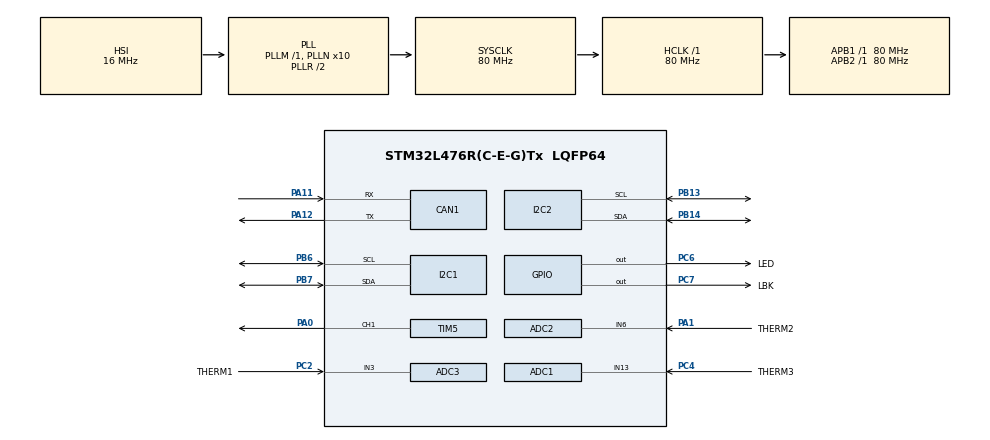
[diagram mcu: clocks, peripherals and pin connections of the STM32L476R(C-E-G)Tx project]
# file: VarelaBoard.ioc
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ADC1.Channel-1\#ChannelRegularConversion=ADC_CHANNEL_13
ADC1.NbrOfConversionFlag=1
ADC1.OffsetNumber-1\#ChannelRegularConversion=ADC_OFFSET_NONE
ADC1.Rank-1\#ChannelRegularConversion=1
ADC1.SamplingTime-1\#ChannelRegularConversion=ADC_SAMPLETIME_2CYCLES_5
ADC1.master=1
ADC2.Channel-0\#ChannelRegularConversion=ADC_CHANNEL_6
ADC2.NbrOfConversionFlag=1
ADC2.OffsetNumber-0\#ChannelRegularConversion=ADC_OFFSET_NONE
ADC2.Rank-0\#ChannelRegularConversion=1
ADC2.SamplingTime-0\#ChannelRegularConversion=ADC_SAMPLETIME_2CYCLES_5
ADC3.Channel-0\#ChannelRegularConversion=ADC_CHANNEL_3
ADC3.NbrOfConversionFlag=1
ADC3.OffsetNumber-0\#ChannelRegularConversion=ADC_OFFSET_NONE
ADC3.Rank-0\#ChannelRegularConversion=1
ADC3.SamplingTime-0\#ChannelRegularConversion=ADC_SAMPLETIME_2CYCLES_5
CAN1.BS1=CAN_BS1_4TQ
CAN1.CalculateTimeQuantum=200.0
Mcu.Family=STM32L4
Mcu.Name=STM32L476R(C-E-G)Tx
Mcu.Package=LQFP64
NVIC.PriorityGroup=NVIC_PRIORITYGROUP_4
PA0.Signal=S_TIM5_CH1
PA1.GPIO_Label=THERM2
PA1.Signal=ADCx_IN6
PA11.Mode=Master
PA11.Signal=CAN1_RX
PA12.Mode=Master
PA12.Signal=CAN1_TX
PA13\ (JTMS-SWDIO).Mode=JTAG_5_pins
PA13\ (JTMS-SWDIO).Signal=SYS_JTMS-SWDIO
PA14\ (JTCK-SWCLK).Mode=JTAG_5_pins
PA14\ (JTCK-SWCLK).Signal=SYS_JTCK-SWCLK
PA15\ (JTDI).Mode=JTAG_5_pins
PA15\ (JTDI).Signal=SYS_JTDI
PB13.Mode=I2C
PB13.Signal=I2C2_SCL
PB14.Mode=I2C
PB14.Signal=I2C2_SDA
PB3\ (JTDO-TRACESWO).Mode=JTAG_5_pins
PB3\ (JTDO-TRACESWO).Signal=SYS_JTDO-SWO
PB4\ (NJTRST).Mode=JTAG_5_pins
PB4\ (NJTRST).Signal=SYS_JTRST
PB6.Mode=I2C
PB6.Signal=I2C1_SCL
PB7.Mode=I2C
PB7.Signal=I2C1_SDA
PC14-OSC32_IN\ (PC14).Mode=LSE-External-Oscillator
PC14-OSC32_IN\ (PC14).Signal=RCC_OSC32_IN
PC15-OSC32_OUT\ (PC15).Mode=LSE-External-Oscillator
PC15-OSC32_OUT\ (PC15).Signal=RCC_OSC32_OUT
PC2.GPIO_Label=THERM1
PC2.Signal=ADCx_IN3
PC4.GPIO_Label=THERM3
PC4.Signal=ADCx_IN13
PC6.GPIO_Label=LED
PC6.Signal=GPIO_Output
PC7.GPIO_Label=LBK
PC7.Signal=GPIO_Output
ProjectManager.HeapSize=0x200
ProjectManager.StackSize=0x400
ProjectManager.TargetToolchain=STM32CubeIDE
RCC.ADCFreq_Value=64000000
RCC.AHBFreq_Value=80000000
RCC.APB1Freq_Value=80000000
RCC.APB1TimFreq_Value=80000000
RCC.APB2Freq_Value=80000000
RCC.APB2TimFreq_Value=80000000
RCC.CortexFreq_Value=80000000
RCC.HCLKFreq_Value=80000000
RCC.HSE_VALUE=8000000
RCC.HSI_VALUE=16000000
RCC.MSI_VALUE=4000000
RCC.PLLN=10
RCC.PLLSourceVirtual=RCC_PLLSOURCE_HSI
RCC.SYSCLKFreq_VALUE=80000000
RCC.SYSCLKSource=RCC_SYSCLKSOURCE_PLLCLK
RCC.USBFreq_Value=64000000
RCC.VCOOutputFreq_Value=160000000
SH.ADCx_IN13.0=ADC1_IN13,IN13-Single-Ended
SH.ADCx_IN3.0=ADC3_IN3,IN3-Single-Ended
SH.ADCx_IN6.0=ADC2_IN6,IN6-Single-Ended
SH.S_TIM5_CH1.0=TIM5_CH1,PWM Generation1 CH1
TIM5.Channel-PWM\ Generation1\ CH1=TIM_CHANNEL_1
TIM5.Period=2000
TIM5.Prescaler=40000
board=custom

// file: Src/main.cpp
/* USER CODE BEGIN Header */
/**
  ******************************************************************************
  * @file           : main.c
  * @brief          : Main program body
  ******************************************************************************
  * @attention
  *
  * <h2><center>&copy; Copyright (c) 2019 STMicroelectronics.
  * All rights reserved.</center></h2>
  *
  * This software component is licensed by ST under BSD 3-Clause license,
  * the "License"; You may not use this file except in compliance with the
  * License. You may obtain a copy of the License at:
  *                        opensource.org/licenses/BSD-3-Clause
  *
  ******************************************************************************
  */
/* USER CODE END Header */

#include "main.h"

/* USER CODE BEGIN Includes */
#include "INA219.h"
#include "Adafruit_BNO055.h"
#include "zenith_can_lib.h"
#include <math.h>
/* USER CODE END Includes */

/* USER CODE BEGIN PD */
#define INA_ADDR_1 0x40
#define INA_ADDR_2 0X41
#define INA_ADDR_3 0X44
#define INA_ADDR_4 0X45

/* USER CODE END PD */

ADC_HandleTypeDef hadc1;
ADC_HandleTypeDef hadc2;
ADC_HandleTypeDef hadc3;

CAN_HandleTypeDef hcan1;

I2C_HandleTypeDef hi2c1;
I2C_HandleTypeDef hi2c2;

TIM_HandleTypeDef htim5;

/* USER CODE BEGIN PV */
Z_CAN_Package can_rx_pkg;
Z_CAN_Package can_tx_pkg;

INA ina1_i2c1 = INA_ZERO;
INA ina2_i2c1 = INA_ZERO;
INA ina3_i2c1 = INA_ZERO;
INA ina4_i2c1 = INA_ZERO;

INA ina1_i2c2 = INA_ZERO;
INA ina2_i2c2 = INA_ZERO;
INA ina3_i2c2 = INA_ZERO;
INA ina4_i2c2 = INA_ZERO;

float temp_avg1, temp_avg2, temp_avg3;
float temp = 25;

float f1, f2;
TIM_OC_InitTypeDef configPWM = {0};
uint8_t flagPWM = 0;		// 0 = stop; 1 = 30%; 2 = 60%;
/* USER CODE END PV */

void SystemClock_Config(void);
static void MX_GPIO_Init(void);
static void MX_CAN1_Init(void);
static void MX_ADC1_Init(void);
static void MX_ADC2_Init(void);
static void MX_ADC3_Init(void);
static void MX_I2C1_Init(void);
static void MX_I2C2_Init(void);
static void MX_TIM5_Init(void);
/* USER CODE BEGIN PFP */
float tempADC(ADC_HandleTypeDef* phadc, float R0);

/* USER CODE END PFP */

int main(void)
{

  /* MCU Configuration--------------------------------------------------------*/

  /* Reset of all peripherals, Initializes the Flash interface and the Systick. */
  HAL_Init();

  /* Configure the system clock */
  SystemClock_Config();

  /* Initialize all configured peripherals */
  MX_GPIO_Init();
  MX_CAN1_Init();
  MX_ADC1_Init();
  MX_ADC2_Init();
  MX_ADC3_Init();
  MX_I2C1_Init();
  MX_I2C2_Init();
  MX_TIM5_Init();
  /* USER CODE BEGIN 2 */

  double xPos = 0, yPos = 0, headingVel = 0;
  uint16_t BNO055_SAMPLERATE_DELAY_MS = 10; //how often to read data from the board
  uint16_t PRINT_DELAY_MS = 500; // how often to print the data
  uint16_t printCount = 0; //counter to avoid printing every 10MS sample
  double ACCEL_VEL_TRANSITION =  (double)(BNO055_SAMPLERATE_DELAY_MS) / 1000.0;
  double ACCEL_POS_TRANSITION = 0.5 * ACCEL_VEL_TRANSITION * ACCEL_VEL_TRANSITION;
  double DEG_2_RAD = 0.01745329251; //trig functions require radians, BNO055 outputs degrees

  Adafruit_BNO055 bno = Adafruit_BNO055(hi2c1, 55);

  bno.begin();

  ina219_init(hi2c1, INA_ADDR_1);
  setCalibration_16V_400mA();

  // Initializing CAN Filter
  filterConfigCAN(&hcan1);
  HAL_CAN_Start(&hcan1);

  // Initializing PWM Timer
  HAL_TIM_PWM_Init(&htim5);
  configPWM.OCMode = TIM_OCMODE_PWM1;
  configPWM.Pulse = 0; // Largura do pulso
  configPWM.OCPolarity = TIM_OCPOLARITY_HIGH;
  configPWM.OCNPolarity = TIM_OCNPOLARITY_HIGH;
  configPWM.OCFastMode = TIM_OCFAST_DISABLE;
  configPWM.OCIdleState = TIM_OCIDLESTATE_RESET;
  configPWM.OCNIdleState = TIM_OCNIDLESTATE_RESET;
  HAL_TIM_PWM_ConfigChannel(&htim5, &configPWM, TIM_CHANNEL_1);

  can_tx_pkg.identifier = 2;
  /* USER CODE END 2 */

  /* Infinite loop */
  while (1)
  {

    /* USER CODE BEGIN 3 */

	  sensors_event_t orientationData , linearAccelData, angVelData;
	  //bno.getEvent(&orientationData, Adafruit_BNO055::VECTOR_EULER);
	  bno.getEvent(&angVelData, Adafruit_BNO055::VECTOR_GYROSCOPE);
	  getData(&ina1_i2c1);
	  f1 = orientationData.orientation.roll;
	  f2 = ina1_i2c1.loadvoltage;
	  memcpy(can_tx_pkg.data, &f1, sizeof(float));
	  memcpy(can_tx_pkg.data + sizeof(float), &f2, sizeof(float));
	  sendCanMessage(&hcan1, can_tx_pkg);

	  /*
	    bno.getEvent(&angVelData, Adafruit_BNO055::VECTOR_GYROSCOPE);
	  bno.getEvent(&linearAccelData, Adafruit_BNO055::VECTOR_LINEARACCEL);

	  xPos = xPos + ACCEL_POS_TRANSITION * linearAccelData.acceleration.x;
	  yPos = yPos + ACCEL_POS_TRANSITION * linearAccelData.acceleration.y;

	  // velocity of sensor in the direction it's facing
	  headingVel = ACCEL_VEL_TRANSITION * linearAccelData.acceleration.x / cos(DEG_2_RAD * orientationData.orientation.x);
*/

	  continue;

	// Leitura CAN
	/*
	can_rx_pkg = readCanMessages(&hcan1);

	if(!isEqual(can_rx_pkg, NULL_MSG)){
		if (can_rx_pkg.data[0] == 1){
			HAL_GPIO_WritePin(LED_GPIO_Port, LED_Pin, GPIO_PIN_SET);
		}
		else if (can_rx_pkg.data[1] == 1){
			HAL_GPIO_TogglePin(LED_GPIO_Port, LED_Pin);
		}
		else if(can_rx_pkg.data[2] == 1){
			HAL_GPIO_WritePin(LED_GPIO_Port, LED_Pin, GPIO_PIN_RESET);
		}
	}
	else{
		continue;		//Nenhuma Mensagem recebida
	}
	*/
	if(temp > 60){		//Prevent Overheating
	  		HAL_TIM_PWM_Stop(&htim5, TIM_CHANNEL_1);
	  		flagPWM = 0;
	}

	// Read and send INA1 - I2C1 (Bateria)
	ina219_init(hi2c1, INA_ADDR_1);
	setCalibration_16V_400mA();
	getData(&ina1_i2c1);
	//sendMessageCAN(&ina1_i2c1, &hcan1, 0);

	can_tx_pkg.identifier = 2;
	//float f1, f2;
	f1 = ina1_i2c1.current_mA;
	f2 = ina1_i2c1.loadvoltage;
	memcpy(can_tx_pkg.data, &f1, sizeof(float));
	memcpy(can_tx_pkg.data + sizeof(float), &f2, sizeof(float));
	sendCanMessage(&hcan1, can_tx_pkg);

	// Read and send INA2 - I2C1 (Charger)
	ina219_init(hi2c1, INA_ADDR_2);
	setCalibration_16V_400mA();
	getData(&ina2_i2c1);
	sendMessageCAN(ina2_i2c1, &hcan1, 3);

	// Read and send INA3 - I2C1 (5V)
	ina219_init(hi2c1, INA_ADDR_3);
	setCalibration_16V_400mA();
	getData(&ina3_i2c1);
	sendMessageCAN(ina3_i2c1, &hcan1, 4);

	// Read and send INA4 - I2C1 (3.3V)
	ina219_init(hi2c1, INA_ADDR_4);
	setCalibration_16V_400mA();
	getData(&ina4_i2c1);
	sendMessageCAN(ina4_i2c1, &hcan1, 5);
/*
	// Read and send INA1 - I2C2
	ina219_init(hi2c2, INA_ADDR_1);
	setCalibration_16V_400mA();
	getData(&ina1_i2c2);
	sendMessageCAN(&ina1_i2c2, &hcan1, 6);
*/
	// Read and send INA2 - I2C2 (Painel Solar 2)
	ina219_init(hi2c2, INA_ADDR_2);
	setCalibration_16V_400mA();
	getData(&ina2_i2c2);
	sendMessageCAN(ina2_i2c2, &hcan1, 7);

	// Read and send INA3 - I2C2 (Painel Solar 1)
	ina219_init(hi2c2, INA_ADDR_3);
	setCalibration_16V_400mA();
	getData(&ina3_i2c2);
	sendMessageCAN(ina3_i2c2, &hcan1, 8);
/*
	// Read and send INA4 - I2C2
	ina219_init(hi2c2, INA_ADDR_4);
	setCalibration_16V_400mA();
	getData(&ina4_i2c2);
	sendMessageCAN(&ina4_i2c2, &hcan1, 9);
*/

	// Read adc1 (Therm3)
	temp_avg1 = 0;
	for(int i = 0; i < 5; i++)
		temp_avg1 += tempADC(&hadc1, 1100);
	temp_avg1 /= 5;

	// Read adc2 (Therm2)
	temp_avg2 = 0;
	for(int i = 0; i < 5; i++)
		temp_avg2 += tempADC(&hadc2, 1100);
	temp_avg2 /= 5;

	// Read adc3 (Therm1)
	temp_avg3 = 0;
	for(int i = 0; i < 5; i++)
		temp_avg3 += tempADC(&hadc3, 1100);
	temp_avg3 /= 5;

	temp = (temp_avg1 + temp_avg2)/2.0;

	can_tx_pkg.identifier = 1;
	memcpy(can_tx_pkg.data, &temp, sizeof(float));
	sendCanMessage(&hcan1, can_tx_pkg);

	if(temp < 2 && flagPWM != 2){		//60%
		//HAL_GPIO_WritePin(PWM_T_GPIO_Port, PWM_T_Pin, GPIO_PIN_SET);
		if(flagPWM != 0)
			HAL_TIM_PWM_Stop(&htim5,TIM_CHANNEL_1);

		configPWM.Pulse = 1200;
		HAL_TIM_PWM_ConfigChannel(&htim5, &configPWM, TIM_CHANNEL_1);
		HAL_TIM_PWM_Start(&htim5,TIM_CHANNEL_1);
		flagPWM = 2;
	}
	else if(temp < 5 && flagPWM != 1){	//30%
		if(flagPWM != 0)
			HAL_TIM_PWM_Stop(&htim5,TIM_CHANNEL_1);

		configPWM.Pulse = 600;
		HAL_TIM_PWM_ConfigChannel(&htim5, &configPWM, TIM_CHANNEL_1);
		HAL_TIM_PWM_Start(&htim5,TIM_CHANNEL_1);
		flagPWM = 1;
	}
	else if(temp >= 5 && flagPWM != 0){	//Stop
		HAL_TIM_PWM_Stop(&htim5,TIM_CHANNEL_1);
	}
	//HAL_GPIO_WritePin(PWM_T_GPIO_Port, PWM_T_Pin, GPIO_PIN_RESET);

  }
  /* USER CODE END 3 */
}

void SystemClock_Config(void)
{
  RCC_OscInitTypeDef RCC_OscInitStruct = {0};
  RCC_ClkInitTypeDef RCC_ClkInitStruct = {0};
  RCC_PeriphCLKInitTypeDef PeriphClkInit = {0};

  /** Initializes the CPU, AHB and APB busses clocks
  */
  RCC_OscInitStruct.OscillatorType = RCC_OSCILLATORTYPE_HSI;
  RCC_OscInitStruct.HSIState = RCC_HSI_ON;
  RCC_OscInitStruct.HSICalibrationValue = RCC_HSICALIBRATION_DEFAULT;
  RCC_OscInitStruct.PLL.PLLState = RCC_PLL_ON;
  RCC_OscInitStruct.PLL.PLLSource = RCC_PLLSOURCE_HSI;
  RCC_OscInitStruct.PLL.PLLM = 1;
  RCC_OscInitStruct.PLL.PLLN = 10;
  RCC_OscInitStruct.PLL.PLLP = RCC_PLLP_DIV7;
  RCC_OscInitStruct.PLL.PLLQ = RCC_PLLQ_DIV2;
  RCC_OscInitStruct.PLL.PLLR = RCC_PLLR_DIV2;
  if (HAL_RCC_OscConfig(&RCC_OscInitStruct) != HAL_OK)
  {
    Error_Handler();
  }
  /** Initializes the CPU, AHB and APB busses clocks
  */
  RCC_ClkInitStruct.ClockType = RCC_CLOCKTYPE_HCLK|RCC_CLOCKTYPE_SYSCLK
                              |RCC_CLOCKTYPE_PCLK1|RCC_CLOCKTYPE_PCLK2;
  RCC_ClkInitStruct.SYSCLKSource = RCC_SYSCLKSOURCE_PLLCLK;
  RCC_ClkInitStruct.AHBCLKDivider = RCC_SYSCLK_DIV1;
  RCC_ClkInitStruct.APB1CLKDivider = RCC_HCLK_DIV1;
  RCC_ClkInitStruct.APB2CLKDivider = RCC_HCLK_DIV1;

  if (HAL_RCC_ClockConfig(&RCC_ClkInitStruct, FLASH_LATENCY_4) != HAL_OK)
  {
    Error_Handler();
  }
  PeriphClkInit.PeriphClockSelection = RCC_PERIPHCLK_I2C1|RCC_PERIPHCLK_I2C2
                              |RCC_PERIPHCLK_ADC;
  PeriphClkInit.I2c1ClockSelection = RCC_I2C1CLKSOURCE_PCLK1;
  PeriphClkInit.I2c2ClockSelection = RCC_I2C2CLKSOURCE_PCLK1;
  PeriphClkInit.AdcClockSelection = RCC_ADCCLKSOURCE_PLLSAI1;
  PeriphClkInit.PLLSAI1.PLLSAI1Source = RCC_PLLSOURCE_HSI;
  PeriphClkInit.PLLSAI1.PLLSAI1M = 1;
  PeriphClkInit.PLLSAI1.PLLSAI1N = 8;
  PeriphClkInit.PLLSAI1.PLLSAI1P = RCC_PLLP_DIV7;
  PeriphClkInit.PLLSAI1.PLLSAI1Q = RCC_PLLQ_DIV2;
  PeriphClkInit.PLLSAI1.PLLSAI1R = RCC_PLLR_DIV2;
  PeriphClkInit.PLLSAI1.PLLSAI1ClockOut = RCC_PLLSAI1_ADC1CLK;
  if (HAL_RCCEx_PeriphCLKConfig(&PeriphClkInit) != HAL_OK)
  {
    Error_Handler();
  }
  /** Configure the main internal regulator output voltage
  */
  if (HAL_PWREx_ControlVoltageScaling(PWR_REGULATOR_VOLTAGE_SCALE1) != HAL_OK)
  {
    Error_Handler();
  }
}

static void MX_ADC1_Init(void)
{

  ADC_MultiModeTypeDef multimode = {0};
  ADC_ChannelConfTypeDef sConfig = {0};

  /** Common config
  */
  hadc1.Instance = ADC1;
  hadc1.Init.ClockPrescaler = ADC_CLOCK_ASYNC_DIV1;
  hadc1.Init.Resolution = ADC_RESOLUTION_12B;
  hadc1.Init.DataAlign = ADC_DATAALIGN_RIGHT;
  hadc1.Init.ScanConvMode = ADC_SCAN_DISABLE;
  hadc1.Init.EOCSelection = ADC_EOC_SINGLE_CONV;
  hadc1.Init.LowPowerAutoWait = DISABLE;
  hadc1.Init.ContinuousConvMode = DISABLE;
  hadc1.Init.NbrOfConversion = 1;
  hadc1.Init.DiscontinuousConvMode = DISABLE;
  hadc1.Init.ExternalTrigConv = ADC_SOFTWARE_START;
  hadc1.Init.ExternalTrigConvEdge = ADC_EXTERNALTRIGCONVEDGE_NONE;
  hadc1.Init.DMAContinuousRequests = DISABLE;
  hadc1.Init.Overrun = ADC_OVR_DATA_PRESERVED;
  hadc1.Init.OversamplingMode = DISABLE;
  if (HAL_ADC_Init(&hadc1) != HAL_OK)
  {
    Error_Handler();
  }
  /** Configure the ADC multi-mode
  */
  multimode.Mode = ADC_MODE_INDEPENDENT;
  if (HAL_ADCEx_MultiModeConfigChannel(&hadc1, &multimode) != HAL_OK)
  {
    Error_Handler();
  }
  /** Configure Regular Channel
  */
  sConfig.Channel = ADC_CHANNEL_13;
  sConfig.Rank = ADC_REGULAR_RANK_1;
  sConfig.SamplingTime = ADC_SAMPLETIME_2CYCLES_5;
  sConfig.SingleDiff = ADC_SINGLE_ENDED;
  sConfig.OffsetNumber = ADC_OFFSET_NONE;
  sConfig.Offset = 0;
  if (HAL_ADC_ConfigChannel(&hadc1, &sConfig) != HAL_OK)
  {
    Error_Handler();
  }

}

static void MX_ADC2_Init(void)
{

  ADC_ChannelConfTypeDef sConfig = {0};

  /** Common config
  */
  hadc2.Instance = ADC2;
  hadc2.Init.ClockPrescaler = ADC_CLOCK_ASYNC_DIV1;
  hadc2.Init.Resolution = ADC_RESOLUTION_12B;
  hadc2.Init.DataAlign = ADC_DATAALIGN_RIGHT;
  hadc2.Init.ScanConvMode = ADC_SCAN_DISABLE;
  hadc2.Init.EOCSelection = ADC_EOC_SINGLE_CONV;
  hadc2.Init.LowPowerAutoWait = DISABLE;
  hadc2.Init.ContinuousConvMode = DISABLE;
  hadc2.Init.NbrOfConversion = 1;
  hadc2.Init.DiscontinuousConvMode = DISABLE;
  hadc2.Init.ExternalTrigConv = ADC_SOFTWARE_START;
  hadc2.Init.ExternalTrigConvEdge = ADC_EXTERNALTRIGCONVEDGE_NONE;
  hadc2.Init.DMAContinuousRequests = DISABLE;
  hadc2.Init.Overrun = ADC_OVR_DATA_PRESERVED;
  hadc2.Init.OversamplingMode = DISABLE;
  if (HAL_ADC_Init(&hadc2) != HAL_OK)
  {
    Error_Handler();
  }
  /** Configure Regular Channel
  */
  sConfig.Channel = ADC_CHANNEL_6;
  sConfig.Rank = ADC_REGULAR_RANK_1;
  sConfig.SamplingTime = ADC_SAMPLETIME_2CYCLES_5;
  sConfig.SingleDiff = ADC_SINGLE_ENDED;
  sConfig.OffsetNumber = ADC_OFFSET_NONE;
  sConfig.Offset = 0;
  if (HAL_ADC_ConfigChannel(&hadc2, &sConfig) != HAL_OK)
  {
    Error_Handler();
  }

}

static void MX_ADC3_Init(void)
{

  ADC_ChannelConfTypeDef sConfig = {0};

  /** Common config
  */
  hadc3.Instance = ADC3;
  hadc3.Init.ClockPrescaler = ADC_CLOCK_ASYNC_DIV1;
  hadc3.Init.Resolution = ADC_RESOLUTION_12B;
  hadc3.Init.DataAlign = ADC_DATAALIGN_RIGHT;
  hadc3.Init.ScanConvMode = ADC_SCAN_DISABLE;
  hadc3.Init.EOCSelection = ADC_EOC_SINGLE_CONV;
  hadc3.Init.LowPowerAutoWait = DISABLE;
  hadc3.Init.ContinuousConvMode = DISABLE;
  hadc3.Init.NbrOfConversion = 1;
  hadc3.Init.DiscontinuousConvMode = DISABLE;
  hadc3.Init.ExternalTrigConv = ADC_SOFTWARE_START;
  hadc3.Init.ExternalTrigConvEdge = ADC_EXTERNALTRIGCONVEDGE_NONE;
  hadc3.Init.DMAContinuousRequests = DISABLE;
  hadc3.Init.Overrun = ADC_OVR_DATA_PRESERVED;
  hadc3.Init.OversamplingMode = DISABLE;
  if (HAL_ADC_Init(&hadc3) != HAL_OK)
  {
    Error_Handler();
  }
  /** Configure Regular Channel
  */
  sConfig.Channel = ADC_CHANNEL_3;
  sConfig.Rank = ADC_REGULAR_RANK_1;
  sConfig.SamplingTime = ADC_SAMPLETIME_2CYCLES_5;
  sConfig.SingleDiff = ADC_SINGLE_ENDED;
  sConfig.OffsetNumber = ADC_OFFSET_NONE;
  sConfig.Offset = 0;
  if (HAL_ADC_ConfigChannel(&hadc3, &sConfig) != HAL_OK)
  {
    Error_Handler();
  }

}

static void MX_CAN1_Init(void)
{

  hcan1.Instance = CAN1;
  hcan1.Init.Prescaler = 16;
  hcan1.Init.Mode = CAN_MODE_NORMAL;
  hcan1.Init.SyncJumpWidth = CAN_SJW_1TQ;
  hcan1.Init.TimeSeg1 = CAN_BS1_4TQ;
  hcan1.Init.TimeSeg2 = CAN_BS2_1TQ;
  hcan1.Init.TimeTriggeredMode = DISABLE;
  hcan1.Init.AutoBusOff = DISABLE;
  hcan1.Init.AutoWakeUp = DISABLE;
  hcan1.Init.AutoRetransmission = DISABLE;
  hcan1.Init.ReceiveFifoLocked = DISABLE;
  hcan1.Init.TransmitFifoPriority = DISABLE;
  if (HAL_CAN_Init(&hcan1) != HAL_OK)
  {
    Error_Handler();
  }

}

static void MX_I2C1_Init(void)
{

  hi2c1.Instance = I2C1;
  hi2c1.Init.Timing = 0x10909CEC;
  hi2c1.Init.OwnAddress1 = 0;
  hi2c1.Init.AddressingMode = I2C_ADDRESSINGMODE_7BIT;
  hi2c1.Init.DualAddressMode = I2C_DUALADDRESS_DISABLE;
  hi2c1.Init.OwnAddress2 = 0;
  hi2c1.Init.OwnAddress2Masks = I2C_OA2_NOMASK;
  hi2c1.Init.GeneralCallMode = I2C_GENERALCALL_DISABLE;
  hi2c1.Init.NoStretchMode = I2C_NOSTRETCH_DISABLE;
  if (HAL_I2C_Init(&hi2c1) != HAL_OK)
  {
    Error_Handler();
  }
  /** Configure Analogue filter
  */
  if (HAL_I2CEx_ConfigAnalogFilter(&hi2c1, I2C_ANALOGFILTER_ENABLE) != HAL_OK)
  {
    Error_Handler();
  }
  /** Configure Digital filter
  */
  if (HAL_I2CEx_ConfigDigitalFilter(&hi2c1, 0) != HAL_OK)
  {
    Error_Handler();
  }

}

static void MX_I2C2_Init(void)
{

  hi2c2.Instance = I2C2;
  hi2c2.Init.Timing = 0x10909CEC;
  hi2c2.Init.OwnAddress1 = 0;
  hi2c2.Init.AddressingMode = I2C_ADDRESSINGMODE_7BIT;
  hi2c2.Init.DualAddressMode = I2C_DUALADDRESS_DISABLE;
  hi2c2.Init.OwnAddress2 = 0;
  hi2c2.Init.OwnAddress2Masks = I2C_OA2_NOMASK;
  hi2c2.Init.GeneralCallMode = I2C_GENERALCALL_DISABLE;
  hi2c2.Init.NoStretchMode = I2C_NOSTRETCH_DISABLE;
  if (HAL_I2C_Init(&hi2c2) != HAL_OK)
  {
    Error_Handler();
  }
  /** Configure Analogue filter
  */
  if (HAL_I2CEx_ConfigAnalogFilter(&hi2c2, I2C_ANALOGFILTER_ENABLE) != HAL_OK)
  {
    Error_Handler();
  }
  /** Configure Digital filter
  */
  if (HAL_I2CEx_ConfigDigitalFilter(&hi2c2, 0) != HAL_OK)
  {
    Error_Handler();
  }

}

static void MX_TIM5_Init(void)
{

  TIM_MasterConfigTypeDef sMasterConfig = {0};
  TIM_OC_InitTypeDef sConfigOC = {0};

  htim5.Instance = TIM5;
  htim5.Init.Prescaler = 40000;
  htim5.Init.CounterMode = TIM_COUNTERMODE_UP;
  htim5.Init.Period = 2000;
  htim5.Init.ClockDivision = TIM_CLOCKDIVISION_DIV1;
  htim5.Init.AutoReloadPreload = TIM_AUTORELOAD_PRELOAD_DISABLE;
  if (HAL_TIM_PWM_Init(&htim5) != HAL_OK)
  {
    Error_Handler();
  }
  sMasterConfig.MasterOutputTrigger = TIM_TRGO_RESET;
  sMasterConfig.MasterSlaveMode = TIM_MASTERSLAVEMODE_DISABLE;
  if (HAL_TIMEx_MasterConfigSynchronization(&htim5, &sMasterConfig) != HAL_OK)
  {
    Error_Handler();
  }
  sConfigOC.OCMode = TIM_OCMODE_PWM1;
  sConfigOC.Pulse = 0;
  sConfigOC.OCPolarity = TIM_OCPOLARITY_HIGH;
  sConfigOC.OCFastMode = TIM_OCFAST_DISABLE;
  if (HAL_TIM_PWM_ConfigChannel(&htim5, &sConfigOC, TIM_CHANNEL_1) != HAL_OK)
  {
    Error_Handler();
  }
  HAL_TIM_MspPostInit(&htim5);

}

static void MX_GPIO_Init(void)
{
  GPIO_InitTypeDef GPIO_InitStruct = {0};

  /* GPIO Ports Clock Enable */
  __HAL_RCC_GPIOC_CLK_ENABLE();
  __HAL_RCC_GPIOA_CLK_ENABLE();
  __HAL_RCC_GPIOB_CLK_ENABLE();

  /*Configure GPIO pin Output Level */
  HAL_GPIO_WritePin(GPIOC, LED_Pin|LBK_Pin, GPIO_PIN_RESET);

  /*Configure GPIO pins : LED_Pin LBK_Pin */
  GPIO_InitStruct.Pin = LED_Pin|LBK_Pin;
  GPIO_InitStruct.Mode = GPIO_MODE_OUTPUT_PP;
  GPIO_InitStruct.Pull = GPIO_NOPULL;
  GPIO_InitStruct.Speed = GPIO_SPEED_FREQ_LOW;
  HAL_GPIO_Init(GPIOC, &GPIO_InitStruct);

}

/* USER CODE BEGIN 4 */
float tempADC(ADC_HandleTypeDef* phadc, float R0){
	//Internal Variables
	uint32_t adc_val;
	float V;
	float R;
	float T;

	//Converting Constants
	const float B = 3900.0;
	const float T0 = 298.15;
	const float R_div = 100.0;
	const float V_ref = 3.3;

	//Read adc voltage
	HAL_ADC_Start(phadc);
	if(HAL_ADC_PollForConversion(phadc, 100) == HAL_OK){
		adc_val = HAL_ADC_GetValue(phadc);
		V = (float)((float)adc_val*3.3)/4095.0;
	}
	HAL_ADC_Stop(phadc);

	//Convert Voltage into Resistance
	R = (V * R_div)/(V_ref - V);

	//Convert Resistance into Temperature
	T = (T0 * B)/(T0*log(R/R0) + B);

	//Kelvin to Celsius
	T =  T - 273.15;

	return T;
}
/* USER CODE END 4 */

void Error_Handler(void)
{
}

/************************ (C) COPYRIGHT STMicroelectronics *****END OF FILE****/
